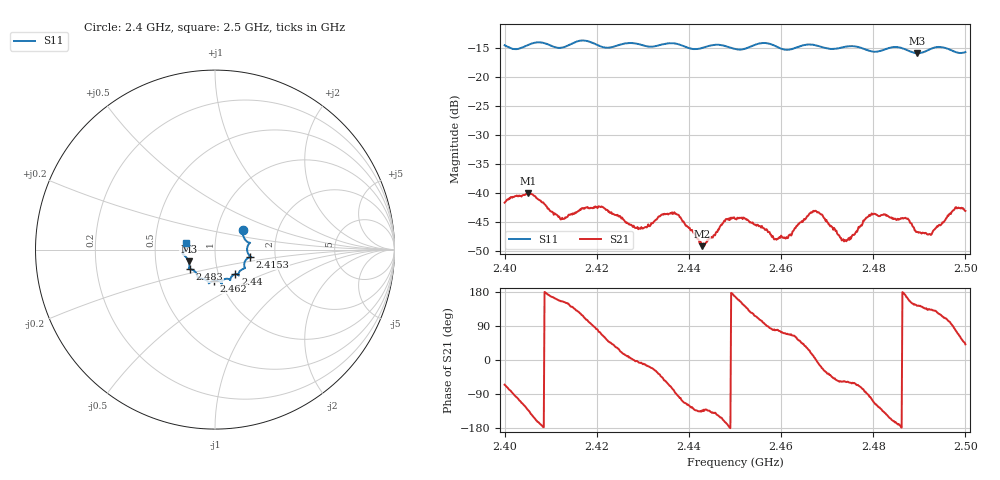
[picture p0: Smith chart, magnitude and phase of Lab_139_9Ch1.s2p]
# Hz S RI R 50
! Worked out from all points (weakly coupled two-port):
!   601 points, 2.4 GHz to 2.5 GHz, reference 50 ohm
!   highest |S21| = -40.04 dB at 2.4052 GHz (marker M1); lowest = -49.2 dB at 2.4428 GHz (marker M2)
!   lowest |S11| = -15.9 dB at 2.4895 GHz (marker M3), VSWR 1.38, Z = 36.9 - j4.99 ohm
!   |S11| at or under -10 dB: start of sweep to end of sweep
!   S12 and S22 are empty: the file has one direction only
!   S11 on the Smith chart (normalised r, x): 2.4 GHz: 1.33, +0.29; 2.4153 GHz: 1.48, -0.12; 2.44 GHz: 1.20, -0.34; 2.462 GHz: 0.93, -0.33; 2.483 GHz: 0.74, -0.17; 2.5 GHz: 0.72, +0.06
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2.4e9  0.1553 0.1065  0.00346 -0.0075  0 0  0 0
2.405167e9  0.1855 0.0398  -0.00679 -0.00728  0 0  0 0
2.412167e9  0.1789 -0.00269  -0.00536 0.0025  0 0  0 0
2.415333e9  0.1967 -0.0386  -0.00469 0.00492  0 0  0 0
2.416667e9  0.2023 -0.0428  -0.0036 0.00641  0 0  0 0
2.421e9  0.1751 -0.0538  0.00285 0.00711  0 0  0 0
2.429e9  0.1616 -0.1053  0.00485 -0.000446  0 0  0 0
2.433333e9  0.1312 -0.1336  0.00504 -0.00365  0 0  0 0
2.437167e9  0.1316 -0.1432  0.000207 -0.00664  0 0  0 0
2.44e9  0.1137 -0.1368  -0.00248 -0.00433  0 0  0 0
2.442833e9  0.0899 -0.1538  -0.00238 -0.00254  0 0  0 0
2.45e9  0.0647 -0.1625  -0.00585 0.00128  0 0  0 0
2.458833e9  0.032 -0.1819  0.000738 0.00395  0 0  0 0
2.462e9  -0.00531 -0.173  0.00175 0.00404  0 0  0 0
2.466667e9  -0.0343 -0.1875  0.00652 0.00186  0 0  0 0
2.473667e9  -0.0855 -0.1606  0.00216 -0.00316  0 0  0 0
2.479167e9  -0.1044 -0.1323  -0.000772 -0.00644  0 0  0 0
2.483e9  -0.1377 -0.1096  -0.00527 -0.00366  0 0  0 0
2.483333e9  -0.1402 -0.1094  -0.00544 -0.00313  0 0  0 0
2.4895e9  -0.1464 -0.0658  -0.0037 0.00278  0 0  0 0
2.492333e9  -0.1711 -0.032  -0.003 0.00324  0 0  0 0
2.5e9  -0.1596 0.0392  0.00525 0.00465  0 0  0 0
